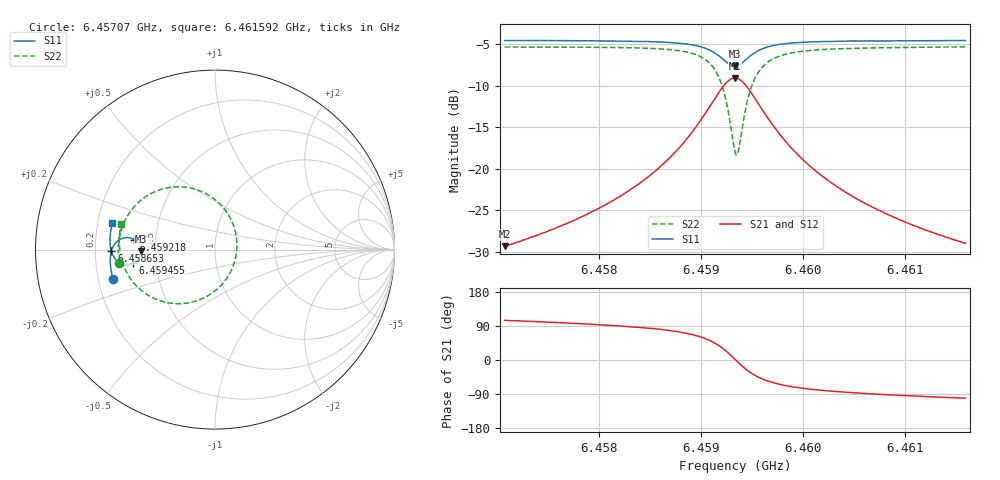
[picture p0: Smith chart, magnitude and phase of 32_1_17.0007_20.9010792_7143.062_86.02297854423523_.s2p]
#  HZ  S  RI  R  50.00
! Rohde & Schwarz Vector Network Analyzer
! Rohde-Schwarz,ZNB20-2Port,1311601062101988,3.16
! Created: UTC 3/20/2024, 10:53:26 PM
! freq[Hz]  re:S11  im:S11  re:S21  im:S21  re:S12  im:S12  re:S22  im:S22
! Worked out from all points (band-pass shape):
!   401 points, 6.45707 GHz to 6.461592 GHz, reference 50 ohm
!   highest |S21| = -9.08 dB at 6.459331 GHz (marker M1); lowest = -29.3 dB at 6.45707 GHz (marker M2)
!   |S21| within 3 dB of the highest: 6.459104 GHz to 6.459556 GHz (451.9 kHz wide, 0.007 % of centre)
!   lowest |S11| = -7.6 dB at 6.459331 GHz (marker M3), VSWR 2.42, Z = 20.7 - j0.459 ohm
!   |S11| at or under -10 dB: nowhere
!   |S22| runs from -18.3 to -5.3 dB; largest |S21 - S12| = 0.014
!   S11 on the Smith chart (normalised r, x): 6.45707 GHz: 0.26, -0.13; 6.458653 GHz: 0.27, -0.01; 6.459218 GHz: 0.38, +0.05; 6.459455 GHz: 0.37, -0.07; 6.461592 GHz: 0.26, +0.12
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6.4570703e9  -0.568 -0.1665  -0.0087 0.0332  -0.00689 0.0331  -0.535 -0.0757
6.4578276e9  -0.5812 -0.0998  -0.00508 0.0513  -0.00258 0.0507  -0.5387 0.0141
6.4582459e9  -0.5837 -0.0575  0.00102 0.0711  0.00436 0.0697  -0.5296 0.0814
6.458585e9  -0.5795 -0.0165  0.0154 0.1004  0.0195 0.0975  -0.5027 0.1592
6.4586528e9  -0.577 -0.00698  0.0209 0.1087  0.025 0.1056  -0.4924 0.1793
6.458845e9  -0.564 0.0233  0.0481 0.14  0.0523 0.135  -0.441 0.2487
6.4589919e9  -0.5408 0.0497  0.0946 0.1707  0.0979 0.1639  -0.3552 0.3129
6.4591275e9  -0.4959 0.0669  0.1837 0.1867  0.1845 0.1794  -0.1924 0.3498
6.459218e9  -0.4505 0.0559  0.275 0.1537  0.2753 0.148  -0.0234 0.2957
6.4592858e9  -0.4212 0.0227  0.3358 0.0796  0.3381 0.0743  0.0921 0.1615
6.459331e9  -0.4144 -0.00918  0.3513 0.0104  0.3553 0.0032  0.1225 0.0316
6.4593649e9  -0.4188 -0.0333  0.3446 -0.043  0.3487 -0.0523  0.1087 -0.0693
6.4594101e9  -0.4349 -0.0598  0.3147 -0.1032  0.317 -0.1156  0.048 -0.1833
6.4594554e9  -0.4576 -0.0762  0.2714 -0.1443  0.2706 -0.158  -0.0399 -0.2576
6.4595458e9  -0.5017 -0.0829  0.1852 -0.1748  0.1788 -0.1865  -0.2118 -0.3014
6.4596136e9  -0.5262 -0.0755  0.1362 -0.1722  0.1281 -0.1813  -0.3061 -0.2849
6.4596927e9  -0.5461 -0.0622  0.0962 -0.1598  0.0876 -0.166  -0.3806 -0.249
6.4598623e9  -0.5688 -0.0325  0.049 -0.1291  0.0413 -0.1317  -0.4646 -0.1704
6.4600884e9  -0.5807 0.00118  0.022 -0.0989  0.016 -0.0993  -0.5086 -0.0917
6.4604275e9  -0.5852 0.0419  0.00598 -0.0715  0.00186 -0.071  -0.5295 -0.0122
6.4608457e9  -0.5833 0.0842  -0.00176 -0.0526  -0.00461 -0.0517  -0.5333 0.0561
6.4615917e9  -0.5714 0.1505  -0.00665 -0.0351  -0.00843 -0.0342  -0.5217 0.1451
